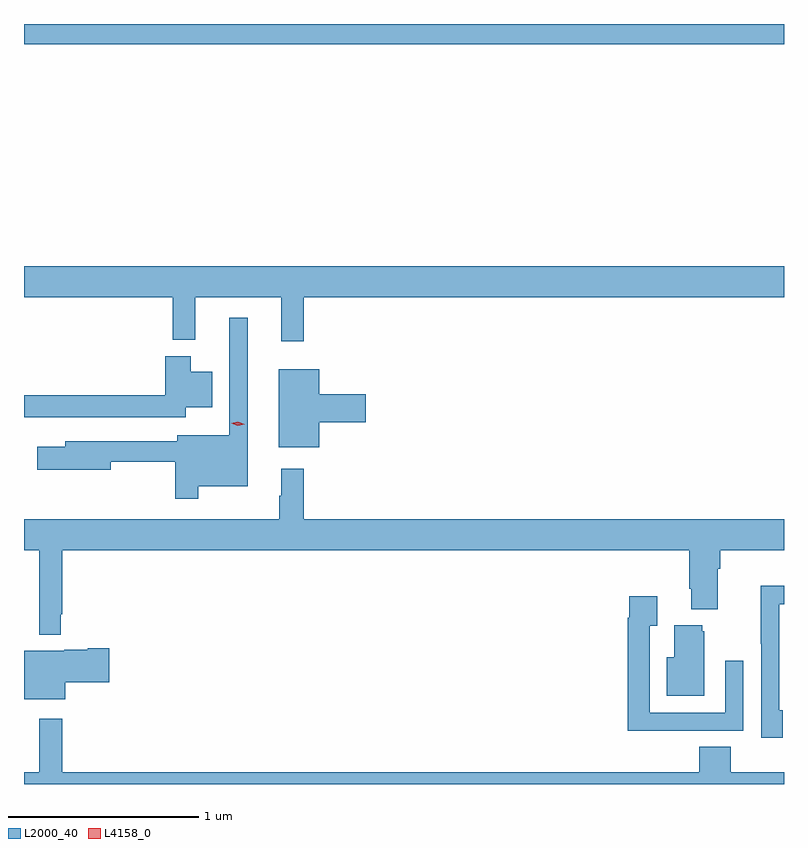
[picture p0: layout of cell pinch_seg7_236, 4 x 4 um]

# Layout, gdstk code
import gdstk
lib = gdstk.Library(unit=1e-6, precision=1e-09)
def R(c, l, rs):  # rectangles x0, y0, x1, y1
    for r in rs: c.add(gdstk.rectangle(r[:2], r[2:], *l))
def P(c, l, *ps):  # polygons
    for p in ps: c.add(gdstk.Polygon(p, *l))
L2000_40 = (2000, 40)
L4158_0 = (4158, 0)

pinch_seg7_236 = lib.new_cell('pinch_seg7_236')
R(pinch_seg7_236, L2000_40, [(827.715,1068.548,831.715,1068.654)])
P(pinch_seg7_236, L2000_40, [(829.187,1067.216),(831.715,1067.216),(831.715,1067.38),(827.715,1067.38),(827.715,1067.216),(828.499,1067.216),(828.499,1066.991),(828.617,1066.991),(828.617,1067.216),(829.07,1067.216),(829.07,1066.983),(829.187,1066.983)],
  [(828.631,1066.22),(828.892,1066.22),(828.892,1067.107),(828.795,1067.107),(828.795,1066.489),(828.521,1066.489),(828.521,1066.458),(827.933,1066.458),(827.933,1066.429),(827.784,1066.429),(827.784,1066.307),(828.172,1066.307),(828.172,1066.35),(828.51,1066.35),(828.51,1066.155),(828.631,1066.155)],
  [(828.567,1066.637),(828.706,1066.637),(828.706,1066.825),(828.592,1066.825),(828.592,1066.906),(828.458,1066.906),(828.458,1066.7),(827.715,1066.7),(827.715,1066.584),(828.567,1066.584)],
  [(829.27,1066.559),(829.513,1066.559),(829.513,1066.706),(829.27,1066.706),(829.27,1066.837),(829.055,1066.837),(829.055,1066.427),(829.27,1066.427)],
  [(827.909,1065.547),(827.917,1065.547),(827.917,1065.884),(831.215,1065.884),(831.215,1065.682),(831.227,1065.682),(831.227,1065.575),(831.367,1065.575),(831.367,1065.788),(831.38,1065.788),(831.38,1065.884),(831.715,1065.884),(831.715,1066.048),(829.187,1066.048),(829.187,1066.312),(829.07,1066.312),(829.07,1066.172),(829.059,1066.172),(829.059,1066.048),(827.715,1066.048),(827.715,1065.884),(827.795,1065.884),(827.795,1065.44),(827.909,1065.44)],
  [(831.709,1065.042),(831.69,1065.042),(831.69,1065.352),(831.691,1065.352),(831.691,1065.6),(831.715,1065.6),(831.715,1065.698),(831.592,1065.698),(831.592,1065.391),(831.594,1065.391),(831.594,1064.898),(831.709,1064.898)],
  [(831.185,1064.934),(831.501,1064.934),(831.501,1065.304),(831.405,1065.304),(831.405,1065.03),(831.009,1065.03),(831.009,1065.487),(831.049,1065.487),(831.049,1065.643),(830.901,1065.643),(830.901,1065.53),(830.893,1065.53),(830.893,1064.933),(831.185,1064.933)],
  [(831.295,1065.459),(831.284,1065.459),(831.284,1065.49),(831.137,1065.49),(831.137,1065.322),(831.098,1065.322),(831.098,1065.119),(831.295,1065.119)],
  [(827.932,1065.19),(828.163,1065.19),(828.163,1065.368),(828.05,1065.368),(828.05,1065.361),(827.928,1065.361),(827.928,1065.355),(827.715,1065.355),(827.715,1065.101),(827.932,1065.101)],
  [(831.715,1064.716),(831.434,1064.716),(831.434,1064.849),(831.269,1064.849),(831.269,1064.716),(827.917,1064.716),(827.917,1064.998),(827.795,1064.998),(827.795,1064.716),(827.715,1064.716),(827.715,1064.654),(831.715,1064.654)])
P(pinch_seg7_236, L4158_0, [(828.84,1066.54),(828.805,1066.552),(828.805,1066.553),(828.805,1066.553),(828.841,1066.56),(828.876,1066.548),(828.876,1066.548),(828.876,1066.548)])

lib.write_gds('pinch_seg7_236.gds')
